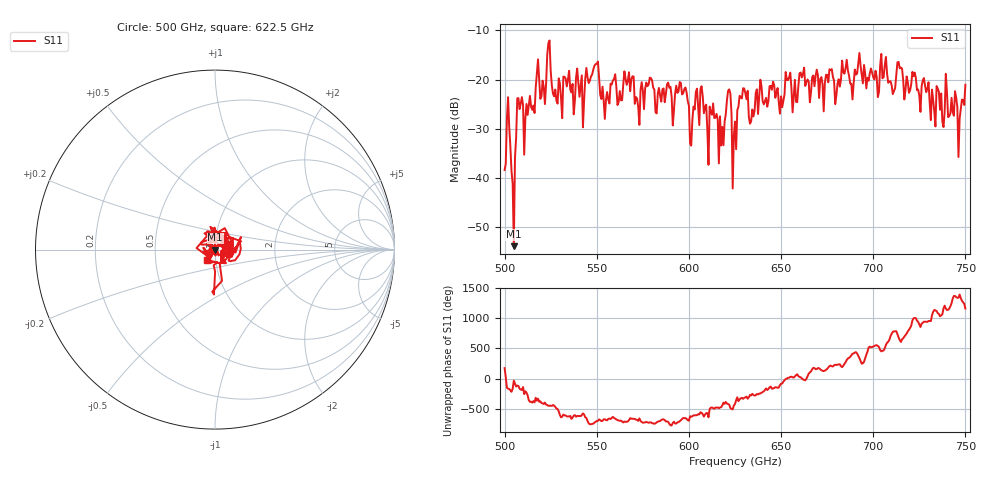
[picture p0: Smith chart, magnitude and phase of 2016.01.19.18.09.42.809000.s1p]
!Created with skrf (http://scikit-rf.org).
# GHz S RI R 50.0
!freq ReS11 ImS11
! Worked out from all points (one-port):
!   401 points, 500 GHz to 750 GHz, reference 50 ohm
!   lowest |S11| = -53.9 dB at 505 GHz (marker M1), VSWR 1.00, Z = 50.2 - j0.118 ohm
!   |S11| at or under -10 dB: start of sweep to end of sweep
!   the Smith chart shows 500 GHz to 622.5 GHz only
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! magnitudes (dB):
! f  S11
! 500 GHz  -38.4
! 502.5 GHz  -29.6
! 505 GHz  -53.9
! 508.1 GHz  -26.0
! 511.9 GHz  -25.0
! 523.8 GHz  -12.6
! 527.5 GHz  -22.0
! 531.2 GHz  -27.8
! 541.9 GHz  -19.1
! 549.4 GHz  -16.8
! 553.1 GHz  -21.4
! 562.5 GHz  -22.3
! 566.2 GHz  -21.1
! 571.9 GHz  -23.8
! 593.8 GHz  -22.7
! 601.9 GHz  -28.2
! 607.5 GHz  -23.4
! 617.5 GHz  -33.4
! 621.9 GHz  -22.0
! 625 GHz  -28.5
! 628.8 GHz  -23.8
! 633.8 GHz  -28.5
! 656.2 GHz  -26.7
! 687.5 GHz  -20.8
! 714.4 GHz  -17.7
! 718.8 GHz  -20.5
! 746.9 GHz  -27.9
! 750 GHz  -21.0
